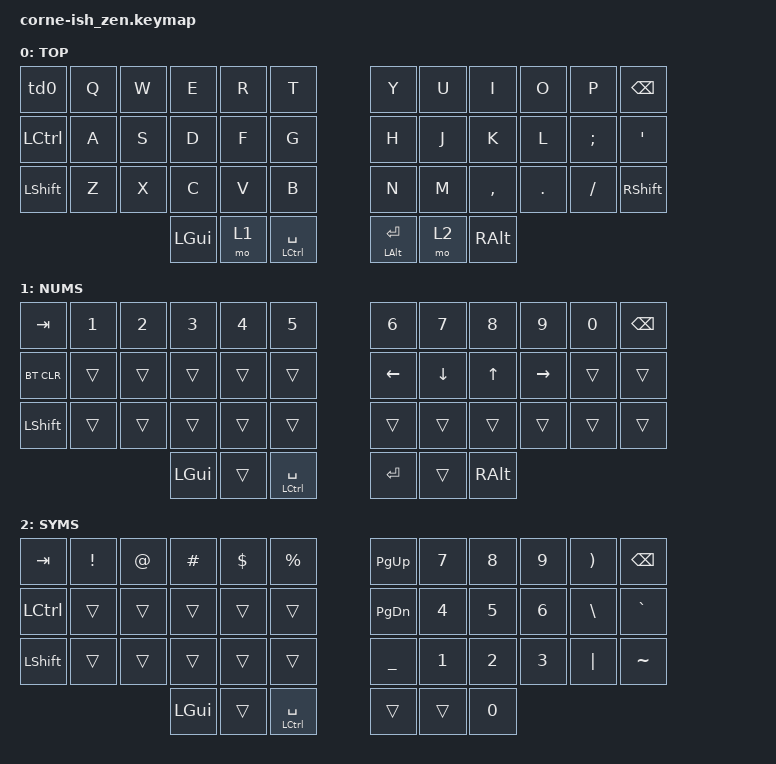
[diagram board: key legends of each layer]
/*
*
* Copyright (c) 2021 Darryl deHaan
* SPDX-License-Identifier: MIT
*
*/

#include <behaviors.dtsi>
#include <dt-bindings/zmk/keys.h>
#include <dt-bindings/zmk/bt.h>

/ {

    behaviors {
        td0: tap_dance_0 {
            compatible = "zmk,behavior-tap-dance";
            label = "TAP_DANCE_0";
            #binding-cells = <0>;
            tapping-term-ms = <200>;
            bindings = <&kp TAB>, <&kp ESC>;
        };
    };
        keymap {
                compatible = "zmk,keymap";

                default_layer {
                        label = "TOP";
// -----------------------------------------------------------------------------------------
// |  TAB |  Q  |  W  |  E  |  R  |     T    |   |    Y    |  U   |  I  |  O  |  P  | BKSP |
// | CTRL |  A  |  S  |  D  |  F  |     G    |   |    H    |  J   |  K  |  L  |  ;  |  '   |
// | SHFT |  Z  |  X  |  C  |  V  |     B    |   |    N    |  M   |  ,  |  .  |  /  | ESC  |
//                    | GUI | LWR | CTRL/SPC |   | ALT/ENT | RSE  | RALT |
                        bindings = <
   &td0      &kp Q &kp W &kp E    &kp R &kp T             &kp Y        &kp U &kp I     &kp O   &kp P    &kp BSPC
   &kp LCTRL &kp A &kp S &kp D    &kp F &kp G             &kp H        &kp J &kp K     &kp L   &kp SEMI &kp SQT
   &kp LSHFT &kp Z &kp X &kp C    &kp V &kp B             &kp N        &kp M &kp COMMA &kp DOT &kp FSLH &kp RSHFT
                         &kp LGUI &mo 1 &mt LCTRL SPACE   &mt LALT RET &mo 2 &kp RALT
                        >;
                };
                lower_layer {
                        label = "NUMS";
// -----------------------------------------------------------------------------------------
// |  TAB |  1  |  2  |  3  |  4  |    5     |   |    6    |  7  |  8  |  9  |  0  | BKSP |
// | BTCLR| BT1 | BT2 | BT3 | BT4 | BT5      |   |   LFT   | DWN |  UP | RGT |     |      |
// | SHFT |     |     |     |     |          |   |         |     |     |     |     |      |
//                    | GUI |     | CTRL/SPC |   | ALT/ENT |     | RALT |
                        bindings = <
   &kp TAB    &kp N1  &kp N2  &kp N3   &kp N4  &kp N5         &kp N6   &kp N7   &kp N8 &kp N9    &kp N0 &kp BSPC
   &bt BT_CLR &trans  &trans  &trans   &trans  &trans   &kp LEFT &kp DOWN &kp UP &kp RIGHT &trans &trans
   &kp LSHFT  &trans  &trans  &trans   &trans  &trans         &trans   &trans   &trans &trans    &trans &trans
                              &kp LGUI &trans  &mt LCTRL SPACE      &kp RET  &trans   &kp RALT
                        >;
                };

                raise_layer {
                        label = "SYMS";
// -----------------------------------------------------------------------------------------
// |  TAB |  !  |  @  |  #  |  $  |     %    |   |    ^    |  &  |  *  |  (  |  )  | BKSP |
// | CTRL |     |     |     |     |          |   |    -    |  =  |  [  |  ]  |  \  |  `   |
// | SHFT |     |     |     |     |          |   |    _    |  +  |  {  |  }  | "|" |  ~   |
//                    | GUI |     | CTRL/SPC |   | ALT/ENT |     | RALT |
                        bindings = <
   &kp  TAB  &kp EXCL &kp AT &kp HASH &kp DLLR &kp PRCNT         &kp PG_UP &kp N7 &kp N8 &kp N9 &kp RPAR &kp BSPC
   &kp LCTRL &trans   &trans &trans   &trans   &trans            &kp PG_DN &kp N4 &kp N5 &kp N6 &kp BSLH &kp GRAVE
   &kp LSHFT &trans   &trans &trans   &trans   &trans            &kp UNDER &kp N1 &kp N2 &kp N3 &kp PIPE &kp TILDE
                    	     &kp LGUI &trans   &mt LCTRL SPACE   &trans    &trans &kp N0
                        >;
                };
        };
};
